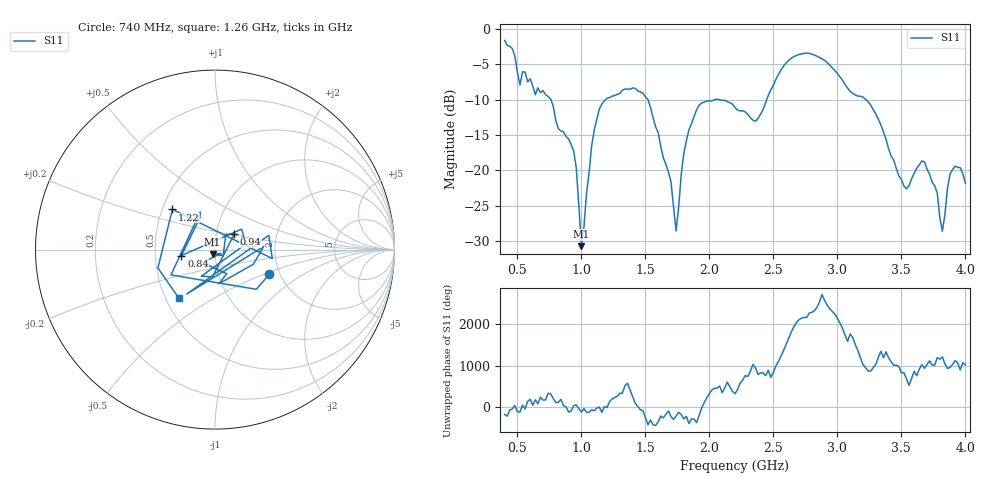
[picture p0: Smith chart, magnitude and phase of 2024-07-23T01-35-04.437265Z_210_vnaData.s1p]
!Created with skrf (http://scikit-rf.org).
# Hz S RI R 50.0
!freq ReS11 ImS11
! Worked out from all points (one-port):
!   181 points, 400 MHz to 4 GHz, reference 50 ohm
!   lowest |S11| = -30.7 dB at 1 GHz (marker M1), VSWR 1.06, Z = 48.6 - j2.5 ohm
!   |S11| at or under -10 dB: 761.5 MHz to 1.19 GHz (428.3 MHz wide, 43.9 % of centre); 1.52 GHz to 2.045 GHz (525 MHz wide, 29.5 % of centre); 3.222 GHz to end of sweep (the widest 3 of 4)
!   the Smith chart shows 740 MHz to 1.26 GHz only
!   S11 on the Smith chart (normalised r, x): 740 MHz: 1.76, -0.55; 840 MHz: 0.68, -0.05; 940 MHz: 1.22, +0.21; 1.22 GHz: 0.57, +0.28; 1.26 GHz: 0.59, -0.36
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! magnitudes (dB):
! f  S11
! 400 MHz  -1.7
! 520 MHz  -7.9
! 740 MHz  -9.6
! 840 MHz  -14.4
! 860 MHz  -14.6
! 940 MHz  -17.3
! 1 GHz  -30.7
! 1.1 GHz  -14.4
! 1.22 GHz  -9.7
! 1.26 GHz  -9.4
! 1.3 GHz  -9.1
! 1.52 GHz  -10.0
! 1.7 GHz  -21.6
! 1.74 GHz  -28.6
! 1.76 GHz  -25.1
! 1.8 GHz  -17.6
! 1.92 GHz  -10.8
! 2.2 GHz  -11.1
! 2.36 GHz  -13.1
! 2.66 GHz  -3.9
! 3.1 GHz  -8.9
! 3.26 GHz  -10.8
! 3.56 GHz  -22.2
! 3.68 GHz  -18.8
! 3.78 GHz  -23.2
! 3.82 GHz  -28.6
! 3.88 GHz  -20.5
! 4 GHz  -21.8
